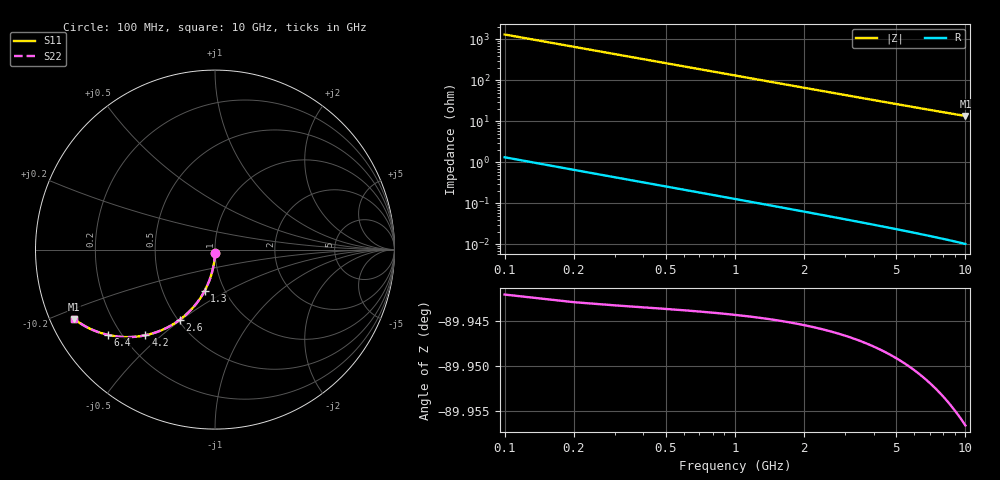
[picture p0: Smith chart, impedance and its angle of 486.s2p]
# Hz S RI R 50.00
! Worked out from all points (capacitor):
!   100 points, 100 MHz to 10 GHz, reference 50 ohm
!   read as one part in shunt: C = 1.2 pF near 100 MHz
!   lowest |Z| = 13.6 ohm at 10 GHz (marker M1)
!   S11 on the Smith chart (normalised r, x): 100 MHz: 1.00, -0.04; 1.3 GHz: 0.81, -0.39; 2.6 GHz: 0.51, -0.49; 4.2 GHz: 0.29, -0.44; 6.4 GHz: 0.15, -0.34; 10 GHz: 0.07, -0.23
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1e8  -0.000243 -0.0187  0.9995 -0.0191  0.9995 -0.0191  -0.000243 -0.0187
2e8  -0.00133 -0.0373  0.9984 -0.0382  0.9984 -0.0382  -0.00133 -0.0373
3e8  -0.00312 -0.0558  0.9966 -0.0572  0.9966 -0.0572  -0.00312 -0.0558
4e8  -0.00562 -0.0742  0.9941 -0.076  0.9941 -0.076  -0.00562 -0.0742
5e8  -0.0088 -0.0925  0.9909 -0.0947  0.9909 -0.0947  -0.0088 -0.0925
6e8  -0.0127 -0.1105  0.9871 -0.1133  0.9871 -0.1133  -0.0127 -0.1105
7e8  -0.0172 -0.1283  0.9825 -0.1315  0.9825 -0.1315  -0.0172 -0.1283
8e8  -0.0223 -0.1459  0.9774 -0.1495  0.9774 -0.1495  -0.0223 -0.1459
1e9  -0.0345 -0.1801  0.9652 -0.1846  0.9652 -0.1846  -0.0345 -0.1801
1.3e9  -0.057 -0.2286  0.9427 -0.2345  0.9427 -0.2345  -0.057 -0.2286
1.5e9  -0.0744 -0.2588  0.9253 -0.2657  0.9253 -0.2657  -0.0744 -0.2588
1.8e9  -0.1038 -0.3006  0.8959 -0.3088  0.8959 -0.3088  -0.1038 -0.3006
2.2e9  -0.1475 -0.3493  0.8521 -0.3593  0.8521 -0.3593  -0.1475 -0.3493
2.6e9  -0.1947 -0.3897  0.8049 -0.4016  0.8049 -0.4016  -0.1947 -0.3897
3.4e9  -0.2927 -0.4468  0.7069 -0.4624  0.7069 -0.4624  -0.2927 -0.4468
4.2e9  -0.3874 -0.4771  0.6122 -0.4963  0.6122 -0.4963  -0.3874 -0.4771
5.1e9  -0.4829 -0.4875  0.5165 -0.5109  0.5165 -0.5109  -0.4829 -0.4875
6.4e9  -0.5961 -0.4753  0.4032 -0.5048  0.4032 -0.5048  -0.5961 -0.4753
6.7e9  -0.6181 -0.4698  0.3811 -0.5007  0.3811 -0.5007  -0.6181 -0.4698
7.5e9  -0.6704 -0.452  0.3287 -0.4867  0.3287 -0.4867  -0.6704 -0.452
8.4e9  -0.719 -0.4292  0.2799 -0.4682  0.2799 -0.4682  -0.719 -0.4292
1e10  -0.785 -0.3864  0.2136 -0.4332  0.2136 -0.4332  -0.785 -0.3864
